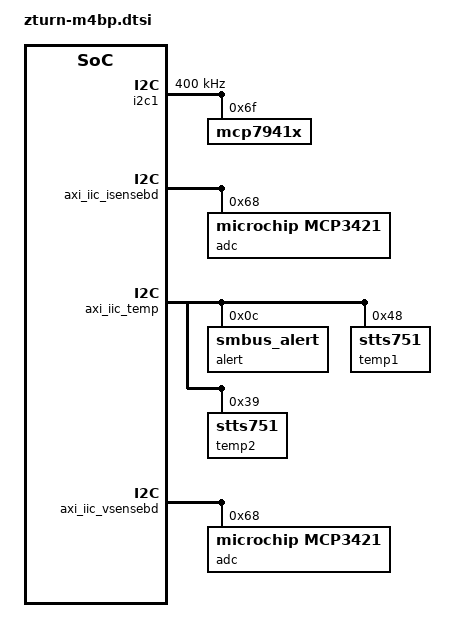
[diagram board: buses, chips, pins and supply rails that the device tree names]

&i2c1 {
	clock-frequency = <400000>;
	status = "okay";
	mcp7941x: mcp7941x@6f {
		compatible = "mcp7941x";
		reg = <0x6f>;
	};
};

&amba {
	axi_iic_isensebd: i2c@41600000 {
		#address-cells = <1>;
		#size-cells = <0>;
		compatible = "xlnx,xps-iic-2.00.a";
		interrupt-parent = <&intc>;
		interrupts = <0 30 4>;
		reg = <0x41600000 0x10000>;
		adc@068 {
			compatible = "microchip,mcp3421";
			reg = <0x68>;
		};
	};

	axi_iic_temp: i2c@41610000 {
		#address-cells = <1>;
		#size-cells = <0>;
		compatible = "xlnx,xps-iic-2.00.a";
		interrupt-parent = <&intc>;
		interrupts = <0 32 4>;
		reg = <0x41610000 0x10000>;

		alert@0 {
			reg = <0xc>;
			compatible = "smbus_alert";
			interrupts = <0 36 4>;
		};

		temp1@48 {
			compatible = "stts751";
			has-therm;
			has-event;
			reg = <0x48>;
		};
		temp2@39 {
			compatible = "stts751";
			reg = <0x39>;
			has-therm;
		};
	};

	axi_iic_vsensebd: i2c@41620000 {
		#address-cells = <1>;
		#size-cells = <0>;
		compatible = "xlnx,xps-iic-2.00.a";
		interrupt-parent = <&intc>;
		interrupts = <0 31 4>;
		reg = <0x41620000 0x10000>;
		adc@68 {
			compatible = "microchip,mcp3421";
			reg = <0x68>;
		};
	};

	gcpr: gcpr@43c00000 {
		compatible = "iit,gcpr-2.0";
		interrupt-parent = <&intc>;
		interrupts = <0 29 4>;
		reg = <0x43c00000 0x10000>;
		xlnx,num-regs = <0x3>;
		xlnx,permission-regs = <0x0>;
	};
};
